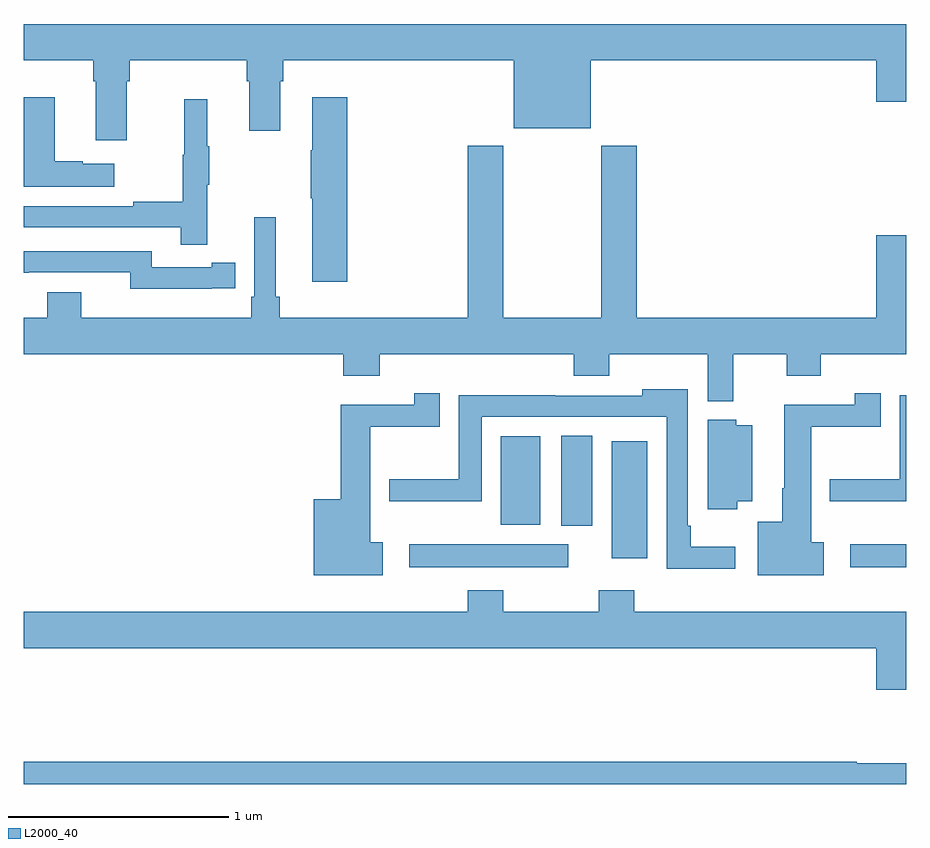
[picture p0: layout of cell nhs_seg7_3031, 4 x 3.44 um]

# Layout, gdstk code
import gdstk
lib = gdstk.Library(unit=1e-6, precision=1e-09)
def R(c, l, rs):  # rectangles x0, y0, x1, y1
    for r in rs: c.add(gdstk.rectangle(r[:2], r[2:], *l))
def P(c, l, *ps):  # polygons
    for p in ps: c.add(gdstk.Polygon(p, *l))
L2000_40 = (2000, 40)

nhs_seg7_3031 = lib.new_cell('nhs_seg7_3031')
R(nhs_seg7_3031, L2000_40, [(306.747,1000.982,307.468,1001.086), (308.745,1000.982,309,1001.086), (307.664,1001.022,307.825,1001.554), (307.436,1001.171,307.576,1001.579), (307.163,1001.174,307.342,1001.575)])
P(nhs_seg7_3031, L2000_40, [(305.467,1003.184),(305.48,1003.184),(305.48,1003.28),(306.011,1003.28),(306.011,1003.184),(306.023,1003.184),(306.023,1002.96),(306.163,1002.96),(306.163,1003.184),(306.176,1003.184),(306.176,1003.28),(307.22,1003.28),(307.22,1002.971),(307.57,1002.971),(307.57,1003.28),(308.864,1003.28),(308.864,1003.092),(309,1003.092),(309,1003.444),(305,1003.444),(305,1003.28),(305.315,1003.28),(305.315,1003.184),(305.327,1003.184),(305.327,1002.918),(305.467,1002.918)],
  [(306.467,1003.111),(306.308,1003.111),(306.308,1002.872),(306.301,1002.872),(306.301,1002.655),(306.308,1002.655),(306.308,1002.276),(306.467,1002.276)],
  [(305.41,1002.811),(305.267,1002.811),(305.267,1002.821),(305.14,1002.821),(305.14,1003.111),(305,1003.111),(305,1002.707),(305.41,1002.707)],
  [(305.831,1002.715),(305.842,1002.715),(305.842,1002.889),(305.831,1002.889),(305.831,1003.102),(305.728,1003.102),(305.728,1002.852),(305.721,1002.852),(305.721,1002.638),(305.497,1002.638),(305.497,1002.618),(305,1002.618),(305,1002.522),(305.713,1002.522),(305.713,1002.444),(305.831,1002.444)],
  [(308.215,1001.948),(308.459,1001.948),(308.459,1001.849),(308.612,1001.849),(308.612,1001.948),(309,1001.948),(309,1002.487),(308.864,1002.487),(308.864,1002.112),(307.778,1002.112),(307.778,1002.892),(307.618,1002.892),(307.618,1002.112),(307.173,1002.112),(307.173,1002.892),(307.013,1002.892),(307.013,1002.112),(306.161,1002.112),(306.161,1002.208),(306.142,1002.208),(306.142,1002.568),(306.045,1002.568),(306.045,1002.208),(306.032,1002.208),(306.032,1002.112),(305.26,1002.112),(305.26,1002.229),(305.108,1002.229),(305.108,1002.112),(305,1002.112),(305,1001.948),(306.449,1001.948),(306.449,1001.849),(306.614,1001.849),(306.614,1001.948),(307.493,1001.948),(307.493,1001.849),(307.653,1001.849),(307.653,1001.948),(308.099,1001.948),(308.099,1001.735),(308.215,1001.735)],
  [(305.852,1002.246),(305.96,1002.246),(305.96,1002.362),(305.852,1002.362),(305.852,1002.342),(305.58,1002.342),(305.58,1002.414),(305,1002.414),(305,1002.317),(305.024,1002.317),(305.024,1002.318),(305.484,1002.318),(305.484,1002.245),(305.852,1002.245)],
  [(308.224,1001.074),(308.023,1001.074),(308.023,1001.17),(308.01,1001.17),(308.01,1001.788),(307.803,1001.788),(307.803,1001.76),(307.409,1001.76),(307.409,1001.762),(306.971,1001.762),(306.971,1001.382),(306.656,1001.382),(306.656,1001.282),(307.075,1001.282),(307.075,1001.664),(307.914,1001.664),(307.914,1000.976),(308.224,1000.976)],
  [(306.628,1001.096),(306.571,1001.096),(306.571,1001.62),(306.886,1001.62),(306.886,1001.77),(306.769,1001.77),(306.769,1001.719),(306.437,1001.719),(306.437,1001.29),(306.314,1001.29),(306.314,1000.946),(306.628,1000.946)],
  [(308.626,1001.096),(308.569,1001.096),(308.569,1001.62),(308.884,1001.62),(308.884,1001.77),(308.767,1001.77),(308.767,1001.719),(308.447,1001.719),(308.447,1001.34),(308.438,1001.34),(308.438,1001.188),(308.327,1001.188),(308.327,1000.946),(308.626,1000.946)],
  [(309,1001.762),(308.969,1001.762),(308.969,1001.382),(308.654,1001.382),(308.654,1001.282),(309,1001.282)],
  [(308.233,1001.282),(308.302,1001.282),(308.302,1001.626),(308.229,1001.626),(308.229,1001.65),(308.099,1001.65),(308.099,1001.246),(308.233,1001.246)],
  [(308.864,1000.428),(309,1000.428),(309,1000.78),(307.766,1000.78),(307.766,1000.879),(307.606,1000.879),(307.606,1000.78),(307.173,1000.78),(307.173,1000.879),(307.013,1000.879),(307.013,1000.78),(305,1000.78),(305,1000.616),(308.864,1000.616)],
  [(309,1000.093),(308.776,1000.093),(308.776,1000.1),(305,1000.1),(305,1000),(309,1000)])

lib.write_gds('nhs_seg7_3031.gds')
